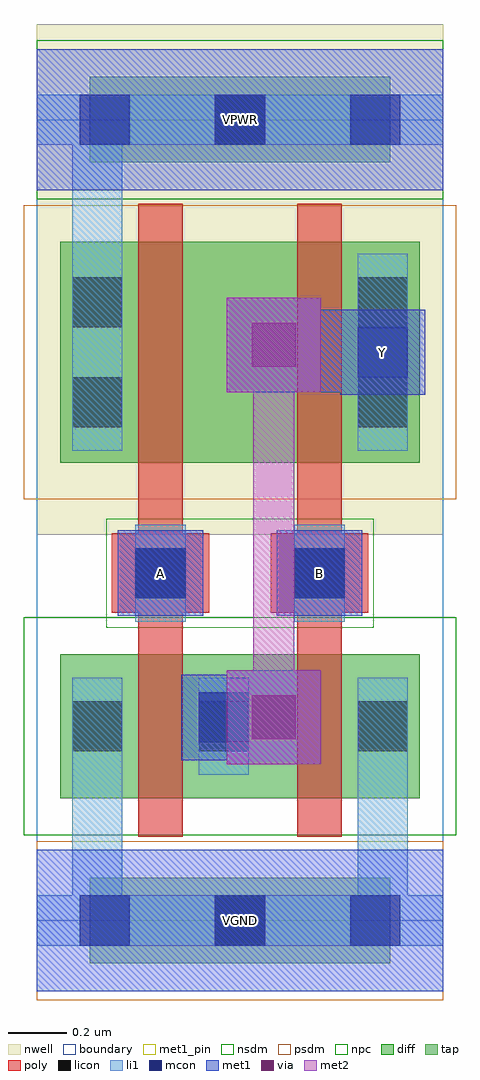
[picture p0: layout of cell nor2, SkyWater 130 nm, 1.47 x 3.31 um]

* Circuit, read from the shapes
.subckt nor2 A B VGND VPWR Y
XM1 Y A VGND VGND sky130_fd_pr__nfet_01v8 w=0.49 l=0.15
XM2 VGND B Y VGND sky130_fd_pr__nfet_01v8 w=0.49 l=0.15
XM3 n1 A VPWR VPWR sky130_fd_pr__pfet_01v8 w=0.75 l=0.15
XM4 Y B n1 VPWR sky130_fd_pr__pfet_01v8 w=0.75 l=0.15
.ends

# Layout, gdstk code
import gdstk
lib = gdstk.Library(unit=1e-6, precision=1e-09)
def R(c, l, rs):  # rectangles x0, y0, x1, y1
    for r in rs: c.add(gdstk.rectangle(r[:2], r[2:], *l))
def A(c, l, x, y, w, h, nx, ny, dx, dy):  # array of equal rectangles
    R(c, l, [(x+i*dx, y+j*dy, x+i*dx+w, y+j*dy+h) for i in range(nx) for j in range(ny)])
nwell = (64, 20)
diff = (65, 20)
tap = (65, 44)
poly = (66, 20)
licon = (66, 44)
li1 = (67, 20)
mcon = (67, 44)
met1_pin = (68, 16)
met1 = (68, 20)
via = (68, 44)
met2 = (69, 20)
nsdm = (93, 44)
psdm = (94, 20)
npc = (95, 20)
boundary = (235, 4)

nor2 = lib.new_cell('nor2')
R(nor2, nwell, [(0,1.31,1.38,3.045)])
R(nor2, diff, [(0.08,0.415,1.3,0.905), (0.08,1.555,1.3,2.305)])
R(nor2, tap, [(0.18,-0.145,1.2,0.145), (0.18,2.575,1.2,2.865)])
R(nor2, poly, [(0.345,0.285,0.495,2.435), (0.885,0.285,1.035,2.435), (0.255,1.045,0.585,1.315), (0.795,1.045,1.125,1.315)])
R(nor2, licon, [(0.605,-0.085,0.775,0.085), (0.12,0.575,0.29,0.745), (0.55,0.575,0.72,0.745), (1.09,0.575,1.26,0.745), (0.335,1.095,0.505,1.265), (0.875,1.095,1.045,1.265), (0.12,1.675,0.29,1.845), (1.09,1.675,1.26,1.845), (0.12,2.015,0.29,2.185), (1.09,2.015,1.26,2.185), (0.605,2.635,0.775,2.805)])
R(nor2, li1, [(0,-0.085,1.38,0.085), (0.12,-0.085,0.29,0.825), (1.09,-0.085,1.26,0.825), (0.12,0.495,0.29,0.825), (0.55,0.495,0.72,0.825), (1.09,0.495,1.26,0.825), (0.335,1.015,0.505,1.345), (0.875,1.015,1.045,1.345), (0.12,1.595,0.29,2.265), (0.12,1.595,0.29,2.805), (1.09,1.595,1.26,2.265), (0,2.635,1.38,2.805)])
A(nor2, mcon, 0.145, -0.085, 0.17, 0.17, 3, 2, 0.46, 2.72)
R(nor2, mcon, [(0.55,0.605,0.72,0.775), (0.335,1.095,0.505,1.265), (0.875,1.095,1.045,1.265), (1.09,1.845,1.26,2.015)])
R(nor2, met1_pin, [(0,-0.24,1.38,0.24), (0.275,1.035,0.565,1.325), (0.815,1.035,1.105,1.325), (1.03,1.785,1.32,2.075), (0,2.48,1.38,2.96)])
R(nor2, met1, [(0,-0.24,1.38,0.24), (0.645,0.53,0.965,0.85), (0.49,0.545,0.78,0.835), (0.565,0.62,0.875,0.76), (0.275,1.035,0.565,1.325), (0.815,1.035,1.105,1.325), (1.03,1.785,1.32,2.075), (0.645,1.795,0.965,2.115), (0.965,1.795,1.03,2.075), (0.735,1.885,1.22,2.025), (1.08,1.885,1.22,2.025), (0,2.48,1.38,2.96)])
R(nor2, via, [(0.73,0.615,0.88,0.765), (0.73,1.88,0.88,2.03)])
R(nor2, met2, [(0.645,0.53,0.965,0.85), (0.735,0.62,0.875,2.025), (0.645,1.795,0.965,2.115)])
R(nor2, nsdm, [(-0.045,0.29,1.425,1.03), (0,2.45,1.38,2.99)])
R(nor2, psdm, [(0,-0.27,1.38,0.27), (-0.045,1.43,1.425,2.43)])
R(nor2, npc, [(0.235,0.995,1.145,1.365)])
R(nor2, boundary, [(0,0,1.38,2.72)])
nor2.add(gdstk.Label('A', (0.42,1.18), layer=68, texttype=5))
nor2.add(gdstk.Label('B', (0.96,1.18), layer=68, texttype=5))
nor2.add(gdstk.Label('Y', (1.175,1.93), layer=68, texttype=5))
nor2.add(gdstk.Label('VPWR', (0.69,2.72), layer=68, texttype=5))
nor2.add(gdstk.Label('VGND', (0.69,0), layer=68, texttype=5))
nor2.add(gdstk.Label('A', (0.42,1.18), layer=68, texttype=16))
nor2.add(gdstk.Label('B', (0.96,1.18), layer=68, texttype=16))
nor2.add(gdstk.Label('Y', (1.175,1.93), layer=68, texttype=16))
nor2.add(gdstk.Label('VPWR', (0.69,2.72), layer=68, texttype=16))
nor2.add(gdstk.Label('VGND', (0.69,0), layer=68, texttype=16))

lib.write_gds('nor2.gds')
